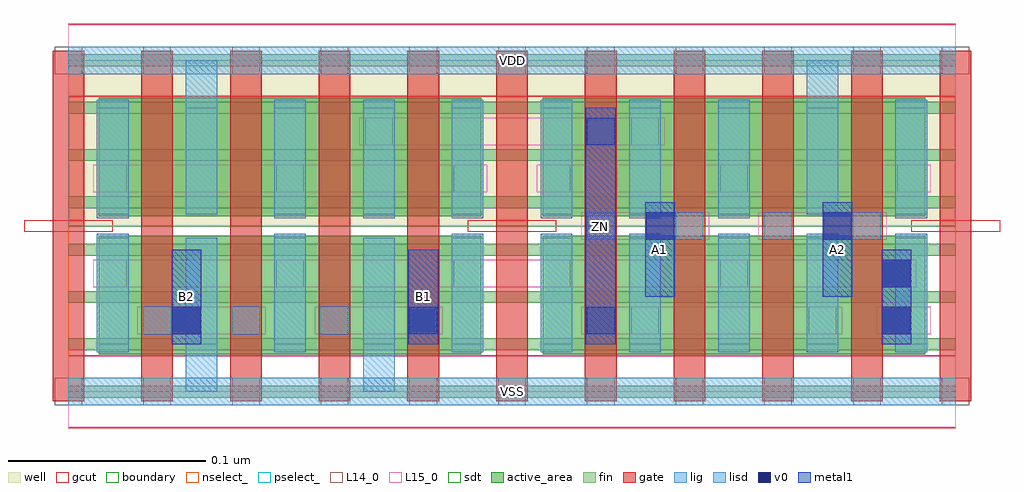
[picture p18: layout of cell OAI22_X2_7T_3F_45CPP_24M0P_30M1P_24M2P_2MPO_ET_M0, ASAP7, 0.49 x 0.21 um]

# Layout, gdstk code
import gdstk
lib = gdstk.Library(unit=1e-6, precision=2.5e-10)
def R(c, l, rs):  # rectangles x0, y0, x1, y1
    for r in rs: c.add(gdstk.rectangle(r[:2], r[2:], *l))
def A(c, l, x, y, w, h, nx, ny, dx, dy):  # array of equal rectangles
    R(c, l, [(x+i*dx, y+j*dy, x+i*dx+w, y+j*dy+h) for i in range(nx) for j in range(ny)])
well = (1, 0)
fin = (2, 0)
gate = (7, 0)
gcut = (10, 0)
active_area = (11, 0)
nselect_ = (12, 0)
pselect_ = (13, 0)
L14_0 = (14, 0)
L15_0 = (15, 0)
lig = (16, 0)
lisd = (17, 0)
v0 = (18, 0)
metal1 = (19, 0)
sdt = (88, 0)
boundary = (100, 0)

oai22_x2_7t_3f_45cpp_24m = lib.new_cell('OAI22_X2_7T_3F_45CPP_24M0P_30M1P_24M2P_2MPO_ET_M0')
R(oai22_x2_7t_3f_45cpp_24m, well, [(0,0.084,0.45,0.168)])
A(oai22_x2_7t_3f_45cpp_24m, fin, 0, -0.003, 0.45, 0.006, 1, 8, 0, 0.024)
A(oai22_x2_7t_3f_45cpp_24m, gate, -0.008, -0.005, 0.016, 0.178, 11, 1, 0.045, 0)
A(oai22_x2_7t_3f_45cpp_24m, gcut, -0.0225, 0.081, 0.045, 0.006, 3, 1, 0.225, 0)
R(oai22_x2_7t_3f_45cpp_24m, gcut, [(0,-0.0185,0.45,0.0185), (0,0.1495,0.45,0.1865)])
R(oai22_x2_7t_3f_45cpp_24m, active_area, [(0.0155,0.019,0.1195,0.079), (0.1055,0.019,0.2095,0.079), (0.2405,0.019,0.3445,0.079), (0.3305,0.019,0.4345,0.079), (0.0155,0.089,0.1195,0.149), (0.1055,0.089,0.2095,0.149), (0.2405,0.089,0.3445,0.149), (0.3305,0.089,0.4345,0.149)])
R(oai22_x2_7t_3f_45cpp_24m, nselect_, [(0,0,0.45,0.084)])
R(oai22_x2_7t_3f_45cpp_24m, pselect_, [(0,0.084,0.45,0.168)])
A(oai22_x2_7t_3f_45cpp_24m, L14_0, -0.007, -0.007, 0.014, 0.014, 11, 2, 0.045, 0.168)
A(oai22_x2_7t_3f_45cpp_24m, L14_0, 0.038, 0.029, 0.014, 0.014, 4, 1, 0.045, 0)
A(oai22_x2_7t_3f_45cpp_24m, L14_0, 0.0155, 0.053, 0.014, 0.014, 3, 2, 0.09, 0.048)
A(oai22_x2_7t_3f_45cpp_24m, L14_0, 0.263, 0.077, 0.014, 0.014, 4, 1, 0.045, 0)
A(oai22_x2_7t_3f_45cpp_24m, L14_0, 0.2405, 0.101, 0.014, 0.014, 3, 1, 0.09, 0)
R(oai22_x2_7t_3f_45cpp_24m, L14_0, [(0.2855,0.029,0.2995,0.043), (0.3755,0.029,0.3895,0.043), (0.4205,0.029,0.4345,0.043), (0.2405,0.053,0.2545,0.067), (0.3305,0.053,0.3445,0.067), (0.1505,0.125,0.1645,0.139), (0.2855,0.125,0.2995,0.139)])
R(oai22_x2_7t_3f_45cpp_24m, L15_0, [(0,-0.018,0.45,0.018), (0.035,0.029,0.1,0.043), (0.125,0.029,0.19,0.043), (0.26,0.029,0.3925,0.043), (0.41,0.029,0.4375,0.043), (0.0125,0.053,0.43,0.067), (0.26,0.077,0.325,0.091), (0.35,0.077,0.415,0.091), (0.0125,0.101,0.2125,0.115), (0.2375,0.101,0.4375,0.115), (0.1475,0.125,0.3025,0.139), (0,0.15,0.45,0.186)])
A(oai22_x2_7t_3f_45cpp_24m, lig, 0.038, 0.029, 0.014, 0.014, 4, 1, 0.045, 0)
A(oai22_x2_7t_3f_45cpp_24m, lig, 0.263, 0.077, 0.014, 0.014, 4, 1, 0.045, 0)
R(oai22_x2_7t_3f_45cpp_24m, lig, [(0,-0.007,0.45,0.007), (0,0.161,0.45,0.175)])
A(oai22_x2_7t_3f_45cpp_24m, lisd, 0.0145, 0.02, 0.016, 0.06, 3, 1, 0.09, 0)
A(oai22_x2_7t_3f_45cpp_24m, lisd, 0.2395, 0.02, 0.016, 0.06, 5, 1, 0.045, 0)
A(oai22_x2_7t_3f_45cpp_24m, lisd, 0.1045, 0.088, 0.016, 0.06, 6, 1, 0.045, 0)
R(oai22_x2_7t_3f_45cpp_24m, lisd, [(0.0595,0,0.0755,0.078), (0.1495,0,0.1655,0.078), (0.0145,0.088,0.0305,0.148), (0.4195,0.088,0.4355,0.148), (0.0595,0.09,0.0755,0.168), (0.3745,0.09,0.3905,0.168)])
R(oai22_x2_7t_3f_45cpp_24m, v0, [(0.053,0.029,0.067,0.043), (0.173,0.029,0.187,0.043), (0.263,0.029,0.277,0.043), (0.413,0.029,0.427,0.043), (0.413,0.053,0.427,0.067), (0.293,0.077,0.307,0.091), (0.383,0.077,0.397,0.091), (0.263,0.125,0.277,0.139)])
R(oai22_x2_7t_3f_45cpp_24m, metal1, [(0.0525,0.024,0.0675,0.072), (0.1725,0.024,0.1875,0.072), (0.2625,0.024,0.2775,0.144), (0.4125,0.024,0.4275,0.072), (0.2925,0.048,0.3075,0.096), (0.3825,0.048,0.3975,0.096)])
A(oai22_x2_7t_3f_45cpp_24m, sdt, 0.0145, 0.024, 0.016, 0.054, 10, 2, 0.045, 0.066)
R(oai22_x2_7t_3f_45cpp_24m, boundary, [(0,0,0.45,0.168)])
oai22_x2_7t_3f_45cpp_24m.add(gdstk.Label('A1', (0.3,0.072), layer=19, texttype=251))
oai22_x2_7t_3f_45cpp_24m.add(gdstk.Label('ZN', (0.27,0.084), layer=19, texttype=251))
oai22_x2_7t_3f_45cpp_24m.add(gdstk.Label('A2', (0.39,0.072), layer=19, texttype=251))
oai22_x2_7t_3f_45cpp_24m.add(gdstk.Label('B1', (0.18,0.048), layer=19, texttype=251))
oai22_x2_7t_3f_45cpp_24m.add(gdstk.Label('B2', (0.06,0.048), layer=19, texttype=251))
oai22_x2_7t_3f_45cpp_24m.add(gdstk.Label('VDD', (0.225,0.168), layer=15, texttype=251))
oai22_x2_7t_3f_45cpp_24m.add(gdstk.Label('VSS', (0.225,0), layer=15, texttype=251))
oai22_x2_7t_3f_45cpp_24m.add(gdstk.Label('VDD', (0.225,0.168), layer=1, texttype=251))
oai22_x2_7t_3f_45cpp_24m.add(gdstk.Label('VSS', (0.225,0), layer=3, texttype=251))

lib.write_gds('OAI22_X2_7T_3F_45CPP_24M0P_30M1P_24M2P_2MPO_ET_M0.gds')
